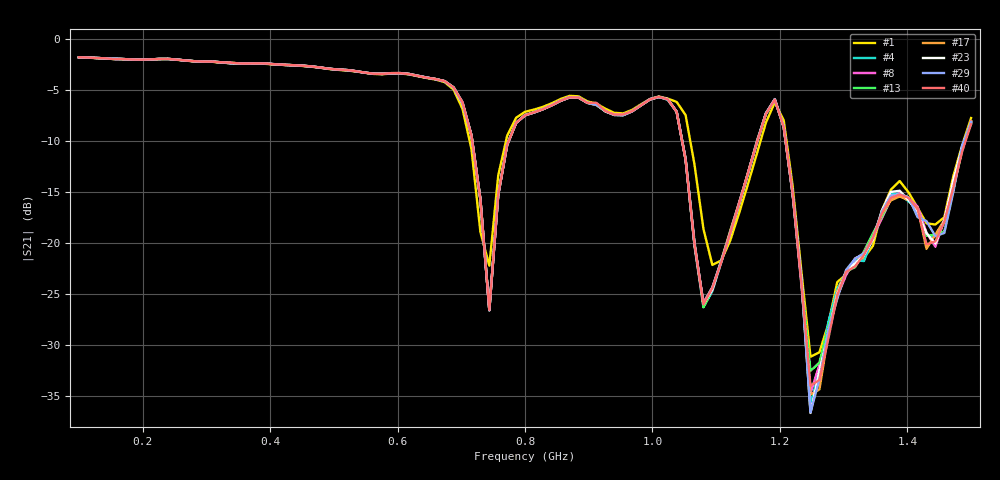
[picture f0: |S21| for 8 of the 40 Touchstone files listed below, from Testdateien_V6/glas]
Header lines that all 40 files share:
! NanoVNA-App
! Start: 100MHz Stop: 1,5GHz Points: 101
! S-Parameter data: F S11 S21 S12 S22
# Hz S RI R 50
!  Frequency  S11_Real  S11_Imag  S21_Real  S21_Imag  S12_Real  S12_Imag  S22_Real  S22_Imag
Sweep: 100 MHz to 1.5 GHz
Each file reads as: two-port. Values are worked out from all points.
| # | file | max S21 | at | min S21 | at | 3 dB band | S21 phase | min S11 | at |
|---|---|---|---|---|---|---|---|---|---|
| 1 | glas (1).s2p | -1.80 dB | 100 MHz | -31.2 dB | 1.248 GHz | 100 MHz-674 MHz | 91 deg at 800 MHz | -39.3 dB | 128 MHz |
| 2 | glas (22).s2p | -1.79 dB | 100 MHz | -36.9 dB | 1.248 GHz | 100 MHz-688 MHz | 92 deg at 800 MHz | -39.3 dB | 128 MHz |
| 3 | glas (23).s2p | -1.79 dB | 100 MHz | -36.3 dB | 1.248 GHz | 100 MHz-688 MHz | 92 deg at 800 MHz | -39.3 dB | 128 MHz |
| 4 | glas (24).s2p | -1.79 dB | 100 MHz | -35.9 dB | 1.248 GHz | 100 MHz-688 MHz | 92 deg at 800 MHz | -39.3 dB | 128 MHz |
| 5 | glas (25).s2p | -1.79 dB | 100 MHz | -34.8 dB | 1.248 GHz | 100 MHz-688 MHz | 92 deg at 800 MHz | -39.3 dB | 128 MHz |
| 6 | glas (26).s2p | -1.79 dB | 100 MHz | -34.1 dB | 1.248 GHz | 100 MHz-688 MHz | 92 deg at 800 MHz | -39.3 dB | 128 MHz |
| 7 | glas (27).s2p | -1.79 dB | 100 MHz | -33.4 dB | 1.248 GHz | 100 MHz-688 MHz | 92 deg at 800 MHz | -39.3 dB | 128 MHz |
| 8 | glas (28).s2p | -1.79 dB | 100 MHz | -34.7 dB | 1.248 GHz | 100 MHz-688 MHz | 92 deg at 800 MHz | -39.3 dB | 128 MHz |
| 9 | glas (29).s2p | -1.79 dB | 100 MHz | -36.9 dB | 1.248 GHz | 100 MHz-688 MHz | 92 deg at 800 MHz | -39.3 dB | 128 MHz |
| 10 | glas (30).s2p | -1.79 dB | 100 MHz | -35.6 dB | 1.248 GHz | 100 MHz-688 MHz | 92 deg at 800 MHz | -39.3 dB | 128 MHz |
| 11 | glas (31).s2p | -1.79 dB | 100 MHz | -34.3 dB | 1.248 GHz | 100 MHz-688 MHz | 92 deg at 800 MHz | -39.3 dB | 128 MHz |
| 12 | glas (32).s2p | -1.79 dB | 100 MHz | -35.3 dB | 1.262 GHz | 100 MHz-688 MHz | 92 deg at 800 MHz | -39.3 dB | 128 MHz |
| 13 | glas (33).s2p | -1.79 dB | 100 MHz | -32.6 dB | 1.248 GHz | 100 MHz-688 MHz | 92 deg at 800 MHz | -39.3 dB | 128 MHz |
| 14 | glas (34).s2p | -1.79 dB | 100 MHz | -35.8 dB | 1.248 GHz | 100 MHz-688 MHz | 92 deg at 800 MHz | -39.3 dB | 128 MHz |
| 15 | glas (35).s2p | -1.79 dB | 100 MHz | -35.1 dB | 1.248 GHz | 100 MHz-688 MHz | 92 deg at 800 MHz | -39.3 dB | 128 MHz |
| 16 | glas (36).s2p | -1.79 dB | 100 MHz | -35.5 dB | 1.248 GHz | 100 MHz-688 MHz | 92 deg at 800 MHz | -39.3 dB | 128 MHz |
| 17 | glas (37).s2p | -1.79 dB | 100 MHz | -34.9 dB | 1.248 GHz | 100 MHz-688 MHz | 92 deg at 800 MHz | -39.3 dB | 128 MHz |
| 18 | glas (38).s2p | -1.79 dB | 100 MHz | -33.0 dB | 1.262 GHz | 100 MHz-688 MHz | 92 deg at 800 MHz | -39.3 dB | 128 MHz |
| 19 | glas (39).s2p | -1.79 dB | 100 MHz | -33.3 dB | 1.248 GHz | 100 MHz-688 MHz | 92 deg at 800 MHz | -39.3 dB | 128 MHz |
| 20 | glas (40).s2p | -1.79 dB | 100 MHz | -33.4 dB | 1.248 GHz | 100 MHz-688 MHz | 92 deg at 800 MHz | -39.3 dB | 128 MHz |
| 21 | glas (41).s2p | -1.79 dB | 100 MHz | -35.0 dB | 1.248 GHz | 100 MHz-688 MHz | 92 deg at 800 MHz | -39.3 dB | 128 MHz |
| 22 | glas (42).s2p | -1.79 dB | 100 MHz | -33.4 dB | 1.248 GHz | 100 MHz-688 MHz | 92 deg at 800 MHz | -39.3 dB | 128 MHz |
| 23 | glas (43).s2p | -1.79 dB | 100 MHz | -36.7 dB | 1.248 GHz | 100 MHz-688 MHz | 92 deg at 800 MHz | -39.2 dB | 128 MHz |
| 24 | glas (44).s2p | -1.79 dB | 100 MHz | -34.1 dB | 1.248 GHz | 100 MHz-688 MHz | 92 deg at 800 MHz | -39.3 dB | 128 MHz |
| 25 | glas (45).s2p | -1.79 dB | 100 MHz | -37.7 dB | 1.248 GHz | 100 MHz-688 MHz | 92 deg at 800 MHz | -39.3 dB | 128 MHz |
| 26 | glas (46).s2p | -1.79 dB | 100 MHz | -34.4 dB | 1.248 GHz | 100 MHz-688 MHz | 92 deg at 800 MHz | -39.3 dB | 128 MHz |
| 27 | glas (47).s2p | -1.79 dB | 100 MHz | -35.9 dB | 1.248 GHz | 100 MHz-688 MHz | 92 deg at 800 MHz | -39.3 dB | 128 MHz |
| 28 | glas (48).s2p | -1.79 dB | 100 MHz | -34.9 dB | 1.262 GHz | 100 MHz-688 MHz | 92 deg at 800 MHz | -39.3 dB | 128 MHz |
| 29 | glas (49).s2p | -1.79 dB | 100 MHz | -36.6 dB | 1.248 GHz | 100 MHz-688 MHz | 92 deg at 800 MHz | -39.3 dB | 128 MHz |
| 30 | glas (50).s2p | -1.79 dB | 100 MHz | -35.9 dB | 1.248 GHz | 100 MHz-688 MHz | 92 deg at 800 MHz | -39.3 dB | 128 MHz |
| 31 | glas (51).s2p | -1.79 dB | 100 MHz | -35.6 dB | 1.248 GHz | 100 MHz-688 MHz | 92 deg at 800 MHz | -39.3 dB | 128 MHz |
| 32 | glas (52).s2p | -1.79 dB | 100 MHz | -36.9 dB | 1.248 GHz | 100 MHz-688 MHz | 92 deg at 800 MHz | -39.3 dB | 128 MHz |
| 33 | glas (53).s2p | -1.79 dB | 100 MHz | -34.3 dB | 1.248 GHz | 100 MHz-688 MHz | 92 deg at 800 MHz | -39.3 dB | 128 MHz |
| 34 | glas (54).s2p | -1.79 dB | 100 MHz | -34.8 dB | 1.248 GHz | 100 MHz-688 MHz | 92 deg at 800 MHz | -39.3 dB | 128 MHz |
| 35 | glas (55).s2p | -1.79 dB | 100 MHz | -33.7 dB | 1.248 GHz | 100 MHz-688 MHz | 92 deg at 800 MHz | -39.3 dB | 128 MHz |
| 36 | glas (56).s2p | -1.79 dB | 100 MHz | -33.9 dB | 1.248 GHz | 100 MHz-688 MHz | 92 deg at 800 MHz | -39.3 dB | 128 MHz |
| 37 | glas (57).s2p | -1.79 dB | 100 MHz | -35.9 dB | 1.248 GHz | 100 MHz-688 MHz | 92 deg at 800 MHz | -39.3 dB | 128 MHz |
| 38 | glas (58).s2p | -1.79 dB | 100 MHz | -36.5 dB | 1.248 GHz | 100 MHz-688 MHz | 92 deg at 800 MHz | -39.3 dB | 128 MHz |
| 39 | glas (59).s2p | -1.79 dB | 100 MHz | -34.4 dB | 1.248 GHz | 100 MHz-688 MHz | 92 deg at 800 MHz | -39.3 dB | 128 MHz |
| 40 | glas (60).s2p | -1.79 dB | 100 MHz | -34.0 dB | 1.248 GHz | 100 MHz-688 MHz | 92 deg at 800 MHz | -39.2 dB | 128 MHz |
